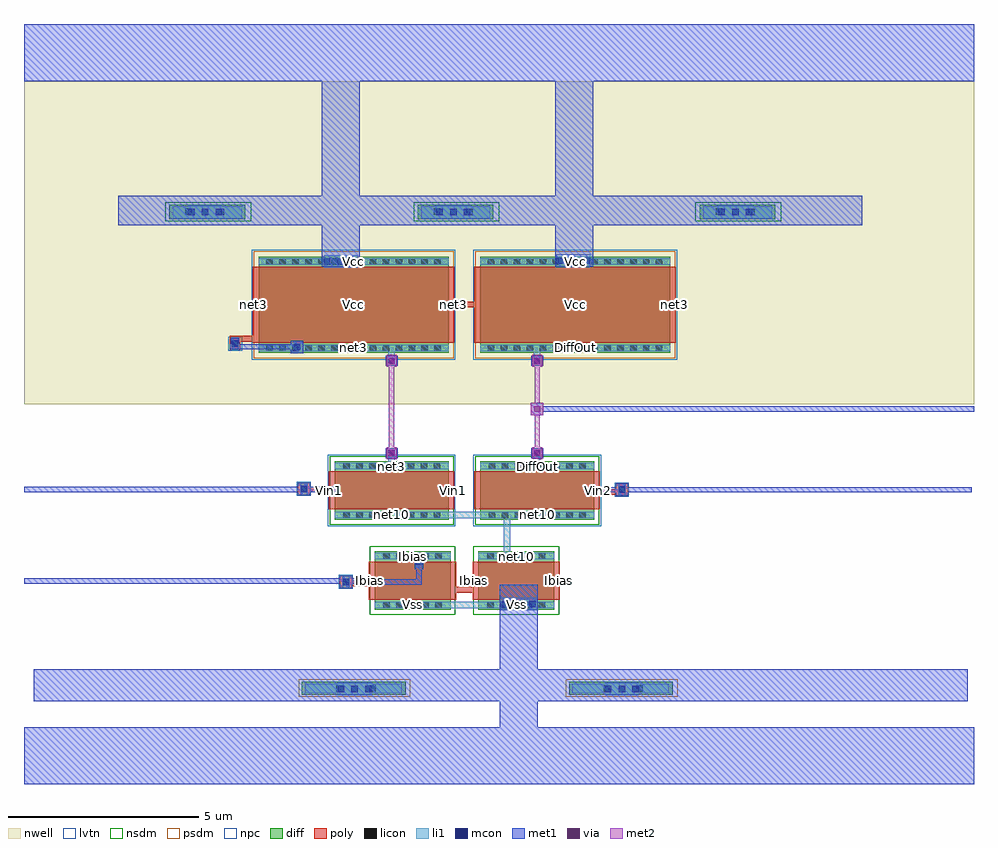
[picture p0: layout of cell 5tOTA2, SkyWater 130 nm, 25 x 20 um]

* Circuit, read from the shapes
.subckt 5tOTA2 DiffOut Ibias Vcc Vin1 Vin2 Vss net10 net3
XM1 net3 Vin1 net10 VSUBS sky130_fd_pr__nfet_01v8_lvt w=3 l=1
XM2 Ibias Ibias Vss VSUBS sky130_fd_pr__nfet_01v8 w=2 l=1
XM3 net10 Ibias Vss VSUBS sky130_fd_pr__nfet_01v8 w=2 l=1
XM4 DiffOut Vin2 net10 VSUBS sky130_fd_pr__nfet_01v8_lvt w=3 l=1
XM5 Vcc net3 net3 Vcc sky130_fd_pr__pfet_01v8_lvt w=5 l=2
XM6 Vcc net3 DiffOut Vcc sky130_fd_pr__pfet_01v8_lvt w=5 l=2
.ends

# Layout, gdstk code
import gdstk
lib = gdstk.Library(unit=1e-6, precision=1e-09)
def R(c, l, rs):  # rectangles x0, y0, x1, y1
    for r in rs: c.add(gdstk.rectangle(r[:2], r[2:], *l))
def A(c, l, x, y, w, h, nx, ny, dx, dy):  # array of equal rectangles
    R(c, l, [(x+i*dx, y+j*dy, x+i*dx+w, y+j*dy+h) for i in range(nx) for j in range(ny)])
nwell = (64, 20)
diff = (65, 20)
poly = (66, 20)
licon = (66, 44)
li1 = (67, 20)
mcon = (67, 44)
met1 = (68, 20)
via = (68, 44)
met2 = (69, 20)
nsdm = (93, 44)
psdm = (94, 20)
npc = (95, 20)
lvtn = (125, 44)

c_5tota2 = lib.new_cell('5tOTA2')
R(c_5tota2, nwell, [(-0.05,10.025,24.95,18.525), (5.945,11.195,11.305,14.085), (11.775,11.195,17.135,14.085)])
R(c_5tota2, diff, [(7.26,2.375,9.99,2.71), (14.295,2.375,17.025,2.71), (9.175,4.615,11.175,4.88), (11.905,4.615,13.905,4.88), (9.175,4.88,11.175,5.88), (11.905,4.88,13.905,5.88), (9.175,5.88,11.175,6.145), (11.905,5.88,13.905,6.145), (8.125,6.985,11.125,7.25), (11.955,6.985,14.955,7.25), (8.125,7.25,11.125,8.25), (11.955,7.25,14.955,8.25), (8.125,8.25,11.125,8.515), (11.955,8.25,14.955,8.515), (6.125,11.375,11.125,11.64), (11.955,11.375,16.955,11.64), (6.125,11.64,11.125,13.64), (11.955,11.64,16.955,13.64), (6.125,13.64,11.125,13.905), (11.955,13.64,16.955,13.905), (3.775,14.89,5.77,15.265), (10.31,14.89,12.305,15.265), (17.73,14.89,19.725,15.265)])
R(c_5tota2, poly, [(9.025,4.88,9.08,5.88), (9.08,4.88,9.175,5.88), (9.175,4.88,11.175,5.88), (11.175,4.88,11.27,5.88), (11.27,4.88,11.325,5.88), (11.755,4.88,11.81,5.88), (11.81,4.88,11.905,5.88), (11.905,4.88,13.905,5.88), (13.905,4.88,14,5.88), (14,4.88,14.055,5.88), (8.255,5.18,8.585,5.51), (7.975,7.25,8.03,8.25), (8.03,7.25,8.125,8.25), (8.125,7.25,11.125,8.25), (11.125,7.25,11.22,8.25), (11.22,7.25,11.275,8.25), (11.805,7.25,11.86,8.25), (11.86,7.25,11.955,8.25), (11.955,7.25,14.955,8.25), (14.955,7.25,15.05,8.25), (15.05,7.25,15.105,8.25), (15.52,7.605,15.85,7.935), (7.15,7.625,7.48,7.955), (5.37,11.45,5.64,11.78), (5.975,11.64,6.03,13.64), (6.03,11.64,6.125,13.64), (6.125,11.64,11.125,13.64), (11.125,11.64,11.22,13.64), (11.22,11.64,11.275,13.64), (11.805,11.64,11.86,13.64), (11.86,11.64,11.955,13.64), (11.955,11.64,16.955,13.64), (16.955,11.64,17.05,13.64), (17.05,11.64,17.105,13.64)])
A(c_5tota2, licon, 9.41, 4.655, 0.17, 0.17, 5, 2, 0.34, 1.28)
A(c_5tota2, licon, 12.14, 4.655, 0.17, 0.17, 5, 2, 0.34, 1.28)
A(c_5tota2, licon, 8.35, 7.025, 0.17, 0.17, 8, 2, 0.34, 1.28)
A(c_5tota2, licon, 12.18, 7.025, 0.17, 0.17, 8, 2, 0.34, 1.28)
A(c_5tota2, licon, 6.33, 11.415, 0.17, 0.17, 14, 2, 0.34, 2.28)
A(c_5tota2, licon, 12.16, 11.415, 0.17, 0.17, 14, 2, 0.34, 2.28)
R(c_5tota2, licon, [(8.165,2.45,8.335,2.62), (15.2,2.45,15.37,2.62), (9.03,2.455,9.2,2.625), (16.065,2.455,16.235,2.625), (8.335,5.26,8.505,5.43), (15.6,7.685,15.77,7.855), (7.23,7.705,7.4,7.875), (5.42,11.53,5.59,11.7), (5.05,14.995,5.22,15.165), (11.585,14.995,11.755,15.165), (19.005,14.995,19.175,15.165), (4.195,15.005,4.365,15.175), (10.73,15.005,10.9,15.175), (18.15,15.005,18.32,15.175)])
R(c_5tota2, li1, [(8.205,2.365,9.095,2.695), (15.24,2.365,16.13,2.695), (7.345,2.415,9.885,2.665), (14.38,2.415,16.92,2.665), (12.475,4.595,13.475,4.925), (9.175,4.655,11.175,4.825), (11.905,4.655,13.905,4.825), (8.335,5.18,8.505,5.51), (10.26,5.72,10.43,6.05), (9.175,5.935,11.175,6.105), (11.905,5.935,13.905,6.105), (8.125,7.025,11.125,7.195), (11.955,7.025,14.955,7.195), (15.6,7.605,15.77,7.935), (7.23,7.625,7.4,7.955), (8.125,8.305,11.125,8.475), (11.955,8.305,14.955,8.475), (9.54,8.645,9.71,8.815), (13.37,8.645,13.54,8.815), (9.54,11.075,9.71,11.245), (13.37,11.075,13.54,11.245), (6.975,11.365,7.305,11.695), (6.125,11.415,11.125,11.585), (11.955,11.415,16.955,11.585), (5.42,11.45,5.59,11.78), (7.845,13.615,8.735,13.945), (13.955,13.63,14.845,13.96), (6.125,13.695,11.125,13.865), (11.955,13.695,16.955,13.865), (3.87,14.905,5.69,15.235), (10.405,14.905,12.225,15.235), (17.825,14.905,19.645,15.235), (4.27,14.91,5.16,15.24), (10.805,14.91,11.695,15.24), (18.225,14.91,19.115,15.24)])
A(c_5tota2, mcon, 8.205, 2.445, 0.17, 0.17, 3, 1, 0.36, 0)
A(c_5tota2, mcon, 15.24, 2.445, 0.17, 0.17, 3, 1, 0.36, 0)
A(c_5tota2, mcon, 12.53, 4.675, 0.17, 0.17, 3, 1, 0.36, 0)
A(c_5tota2, mcon, 7.845, 13.695, 0.17, 0.17, 3, 1, 0.36, 0)
A(c_5tota2, mcon, 13.955, 13.71, 0.17, 0.17, 3, 1, 0.36, 0)
A(c_5tota2, mcon, 4.27, 14.99, 0.17, 0.17, 3, 1, 0.36, 0)
A(c_5tota2, mcon, 10.805, 14.99, 0.17, 0.17, 3, 1, 0.36, 0)
A(c_5tota2, mcon, 18.225, 14.99, 0.17, 0.17, 3, 1, 0.36, 0)
R(c_5tota2, mcon, [(8.335,5.26,8.505,5.43), (10.26,5.8,10.43,5.97), (15.6,7.685,15.77,7.855), (7.23,7.705,7.4,7.875), (9.54,8.645,9.71,8.815), (13.37,8.645,13.54,8.815), (9.54,11.075,9.71,11.245), (13.37,11.075,13.54,11.245), (7.055,11.445,7.225,11.615), (5.42,11.53,5.59,11.7)])
R(c_5tota2, met1, [(-0.05,0.025,24.95,1.525), (0.21,2.2,24.785,3.045), (8.175,2.385,9.125,2.675), (15.21,2.385,16.16,2.675), (12.475,4.595,13.475,4.925), (8.255,5.18,8.585,5.51), (10.23,5.74,10.46,6.03), (15.52,7.605,15.85,7.935), (7.15,7.625,7.48,7.955), (9.465,8.6,9.785,8.86), (13.295,8.6,13.615,8.86), (9.48,8.615,9.77,8.845), (13.31,8.615,13.6,8.845), (13.29,9.73,13.62,10.06), (9.465,11.03,9.785,11.29), (13.295,11.03,13.615,11.29), (9.48,11.045,9.77,11.275), (13.31,11.045,13.6,11.275), (6.975,11.365,7.305,11.695), (5.39,11.47,5.62,11.76), (7.815,13.635,8.765,13.925), (13.925,13.65,14.875,13.94), (2.425,14.725,22.005,15.51), (4.24,14.93,5.19,15.22), (10.775,14.93,11.725,15.22), (18.195,14.93,19.145,15.22), (-0.05,18.525,24.95,20.025)])
R(c_5tota2, via, [(9.55,8.655,9.7,8.805), (13.38,8.655,13.53,8.805), (13.38,9.82,13.53,9.97), (9.55,11.085,9.7,11.235), (13.38,11.085,13.53,11.235)])
R(c_5tota2, met2, [(9.495,8.57,9.755,8.89), (13.325,8.57,13.585,8.89), (13.29,9.73,13.62,10.06), (9.495,11,9.755,11.32), (13.325,11,13.585,11.32)])
R(c_5tota2, nsdm, [(9.045,4.475,11.305,6.285), (11.775,4.475,14.035,6.285), (7.995,6.845,11.255,8.655), (11.825,6.845,15.085,8.655), (3.665,14.83,5.925,15.34), (10.2,14.83,12.46,15.34), (17.62,14.83,19.88,15.34)])
R(c_5tota2, psdm, [(7.175,2.325,10.12,2.785), (14.21,2.325,17.155,2.785), (5.995,11.235,11.255,14.045), (11.825,11.235,17.085,14.045)])
R(c_5tota2, npc, [(8.235,5.16,8.605,5.53), (15.5,7.585,15.87,7.955), (7.13,7.605,7.5,7.975), (5.32,11.43,5.69,11.8)])
R(c_5tota2, lvtn, [(7.945,6.805,11.305,8.695), (11.775,6.805,15.135,8.695), (5.945,11.195,11.305,14.085), (11.775,11.195,17.135,14.085)])
c_5tota2.add(gdstk.FlexPath([(7.71,7.775),(7.71,7.79)], 0.15, ends=(0.075, 0), simple_path=True, layer=66, datatype=20))  # poly
c_5tota2.add(gdstk.FlexPath([(8,7.775),(7.71,7.775)], 0.15, ends=(0.077, 0.075), simple_path=True, layer=66, datatype=20))  # poly
c_5tota2.add(gdstk.FlexPath([(9.05,5.31),(8.42,5.31)], 0.15, ends=(0.077, 0.075), simple_path=True, layer=66, datatype=20))  # poly
c_5tota2.add(gdstk.FlexPath([(8.42,5.31),(8.42,5.345)], 0.15, ends=(0.075, 0), simple_path=True, layer=66, datatype=20))  # poly
c_5tota2.add(gdstk.FlexPath([(7.315,7.775),(7.315,7.79)], 0.15, ends=(0.075, 0), simple_path=True, layer=66, datatype=20))  # poly
c_5tota2.add(gdstk.FlexPath([(7.71,7.775),(7.315,7.775)], 0.15, ends="extended", simple_path=True, layer=66, datatype=20))  # poly
c_5tota2.add(gdstk.FlexPath([(15.075,7.71),(15.685,7.71)], 0.15, ends=(0.073, 0.075), simple_path=True, layer=66, datatype=20))  # poly
c_5tota2.add(gdstk.FlexPath([(15.685,7.71),(15.685,7.77)], 0.15, ends=(0.075, 0), simple_path=True, layer=66, datatype=20))  # poly
c_5tota2.add(gdstk.FlexPath([(6,11.74),(5.365,11.74)], 0.15, ends=(0.077, 0), simple_path=True, layer=66, datatype=20))  # poly
c_5tota2.add(gdstk.FlexPath([(11.27,5.135),(11.81,5.135)], 0.15, ends="flush", simple_path=True, layer=66, datatype=20))  # poly
c_5tota2.add(gdstk.FlexPath([(11.86,12.64),(11.22,12.64)], 0.15, ends="flush", simple_path=True, layer=66, datatype=20))  # poly
c_5tota2.add(gdstk.FlexPath([(11.99,4.74),(11.99,4.825)], 0.17, ends=(0.085, 0), simple_path=True, layer=67, datatype=20))  # li1
c_5tota2.add(gdstk.FlexPath([(11.175,4.74),(11.99,4.74)], 0.17, ends=(0, 0.085), simple_path=True, layer=67, datatype=20))  # li1
c_5tota2.add(gdstk.FlexPath([(12.665,7.11),(12.665,5.935)], 0.17, ends=(0.085, 0), simple_path=True, layer=67, datatype=20))  # li1
c_5tota2.add(gdstk.FlexPath([(13.455,11.16),(13.455,11.5)], 0.17, ends="extended", simple_path=True, layer=67, datatype=20))  # li1
c_5tota2.add(gdstk.FlexPath([(13.455,8.39),(13.455,8.73)], 0.17, ends="extended", simple_path=True, layer=67, datatype=20))  # li1
c_5tota2.add(gdstk.FlexPath([(9.625,11.16),(9.625,11.5)], 0.17, ends="extended", simple_path=True, layer=67, datatype=20))  # li1
c_5tota2.add(gdstk.FlexPath([(9.625,8.39),(9.625,8.73)], 0.17, ends="extended", simple_path=True, layer=67, datatype=20))  # li1
c_5tota2.add(gdstk.FlexPath([(14.87,7.11),(8.21,7.11)], 0.17, ends="extended", simple_path=True, layer=67, datatype=20))  # li1
c_5tota2.add(gdstk.FlexPath([(13.455,8.73),(13.455,11.16)], 0.14, ends="flush", simple_path=True, layer=69, datatype=20))  # met2
c_5tota2.add(gdstk.FlexPath([(9.625,8.73),(9.625,11.16)], 0.14, ends=(0.16, 0.16), simple_path=True, layer=69, datatype=20))  # met2
c_5tota2.add(gdstk.FlexPath([(8.29,19.53),(8.29,13.78)], 1, ends=(0, 0.145), simple_path=True, layer=68, datatype=20))  # met1
c_5tota2.add(gdstk.FlexPath([(10.345,5.34),(9.215,5.34)], 0.14, ends="extended", simple_path=True, layer=68, datatype=20))  # met1
c_5tota2.add(gdstk.FlexPath([(10.345,5.885),(10.345,5.34)], 0.14, ends=(0, 0.07), simple_path=True, layer=68, datatype=20))  # met1
c_5tota2.add(gdstk.FlexPath([(13.465,9.89),(13.465,9.85)], 0.14, ends="extended", simple_path=True, layer=68, datatype=20))  # met1
c_5tota2.add(gdstk.FlexPath([(9.215,5.37),(-0.05,5.37)], 0.14, ends=(0.07, 0), simple_path=True, layer=68, datatype=20))  # met1
c_5tota2.add(gdstk.FlexPath([(14.9,7.77),(24.89,7.77)], 0.14, ends="flush", simple_path=True, layer=68, datatype=20))  # met1
c_5tota2.add(gdstk.FlexPath([(8.215,7.775),(-0.05,7.775)], 0.14, ends="flush", simple_path=True, layer=68, datatype=20))  # met1
c_5tota2.add(gdstk.FlexPath([(24.95,9.89),(13.465,9.89)], 0.14, ends=(0, 0.07), simple_path=True, layer=68, datatype=20))  # met1
c_5tota2.add(gdstk.FlexPath([(5.43,11.53),(7.14,11.53)], 0.14, ends=(0.07, 0), simple_path=True, layer=68, datatype=20))  # met1
c_5tota2.add(gdstk.FlexPath([(10.345,5.885),(10.345,5.74)], 0.23, ends=(0, 0.07), simple_path=True, layer=68, datatype=20))  # met1
c_5tota2.add(gdstk.FlexPath([(12.975,0.06),(12.975,5.27)], 1, ends="flush", simple_path=True, layer=68, datatype=20))  # met1
c_5tota2.add(gdstk.FlexPath([(9.215,5.34),(9.215,5.37)], 0.14, ends="extended", simple_path=True, layer=68, datatype=20))  # met1
c_5tota2.add(gdstk.FlexPath([(14.43,19.53),(14.43,13.78)], 1, ends=(0, 0.145), simple_path=True, layer=68, datatype=20))  # met1
c_5tota2.add(gdstk.FlexPath([(5.43,11.565),(5.43,11.53)], 0.14, ends=(0, 0.07), simple_path=True, layer=68, datatype=20))  # met1
c_5tota2.add(gdstk.Label('Ibias', (11.782,5.38), layer=66, texttype=20))
c_5tota2.add(gdstk.Label('Ibias', (14.027,5.38), layer=66, texttype=20))
c_5tota2.add(gdstk.Label('Ibias', (9.052,5.38), layer=66, texttype=20))
c_5tota2.add(gdstk.Label('Ibias', (11.297,5.38), layer=66, texttype=20))
c_5tota2.add(gdstk.Label('Vin1', (8.002,7.75), layer=66, texttype=20))
c_5tota2.add(gdstk.Label('Vin1', (11.247,7.75), layer=66, texttype=20))
c_5tota2.add(gdstk.Label('Vin2', (11.832,7.75), layer=66, texttype=20))
c_5tota2.add(gdstk.Label('Vin2', (15.077,7.75), layer=66, texttype=20))
c_5tota2.add(gdstk.Label('net3', (6.002,12.64), layer=66, texttype=20))
c_5tota2.add(gdstk.Label('net3', (11.247,12.64), layer=66, texttype=20))
c_5tota2.add(gdstk.Label('net3', (17.077,12.64), layer=66, texttype=20))
c_5tota2.add(gdstk.Label('net3', (11.832,12.64), layer=66, texttype=20))
c_5tota2.add(gdstk.Label('net10', (12.905,6.02), layer=67, texttype=20))
c_5tota2.add(gdstk.Label('Vss', (12.905,4.74), layer=67, texttype=20))
c_5tota2.add(gdstk.Label('Ibias', (10.175,6.02), layer=67, texttype=20))
c_5tota2.add(gdstk.Label('Vss', (10.175,4.74), layer=67, texttype=20))
c_5tota2.add(gdstk.Label('net3', (9.625,8.39), layer=67, texttype=20))
c_5tota2.add(gdstk.Label('net10', (9.625,7.11), layer=67, texttype=20))
c_5tota2.add(gdstk.Label('DiffOut', (13.455,8.39), layer=67, texttype=20))
c_5tota2.add(gdstk.Label('net10', (13.455,7.11), layer=67, texttype=20))
c_5tota2.add(gdstk.Label('net3', (8.625,11.5), layer=67, texttype=20))
c_5tota2.add(gdstk.Label('Vcc', (8.625,13.78), layer=67, texttype=20))
c_5tota2.add(gdstk.Label('DiffOut', (14.455,11.5), layer=67, texttype=20))
c_5tota2.add(gdstk.Label('Vcc', (14.455,13.78), layer=67, texttype=20))
c_5tota2.add(gdstk.Label('Vcc', (8.625,12.64), layer=64, texttype=20))
c_5tota2.add(gdstk.Label('Vcc', (14.455,12.64), layer=64, texttype=20))
c_5tota2.add(gdstk.Label('net10', (12.905,6.012), layer=65, texttype=20))
c_5tota2.add(gdstk.Label('Vss', (12.905,4.747), layer=65, texttype=20))
c_5tota2.add(gdstk.Label('Ibias', (10.175,6.012), layer=65, texttype=20))
c_5tota2.add(gdstk.Label('Vss', (10.175,4.747), layer=65, texttype=20))
c_5tota2.add(gdstk.Label('net3', (9.625,8.382), layer=65, texttype=20))
c_5tota2.add(gdstk.Label('net10', (9.625,7.117), layer=65, texttype=20))
c_5tota2.add(gdstk.Label('DiffOut', (13.455,8.382), layer=65, texttype=20))
c_5tota2.add(gdstk.Label('net10', (13.455,7.117), layer=65, texttype=20))
c_5tota2.add(gdstk.Label('net3', (8.625,11.507), layer=65, texttype=20))
c_5tota2.add(gdstk.Label('Vcc', (8.625,13.772), layer=65, texttype=20))
c_5tota2.add(gdstk.Label('DiffOut', (14.455,11.507), layer=65, texttype=20))
c_5tota2.add(gdstk.Label('Vcc', (14.455,13.772), layer=65, texttype=20))

lib.write_gds('5tOTA2.gds')
